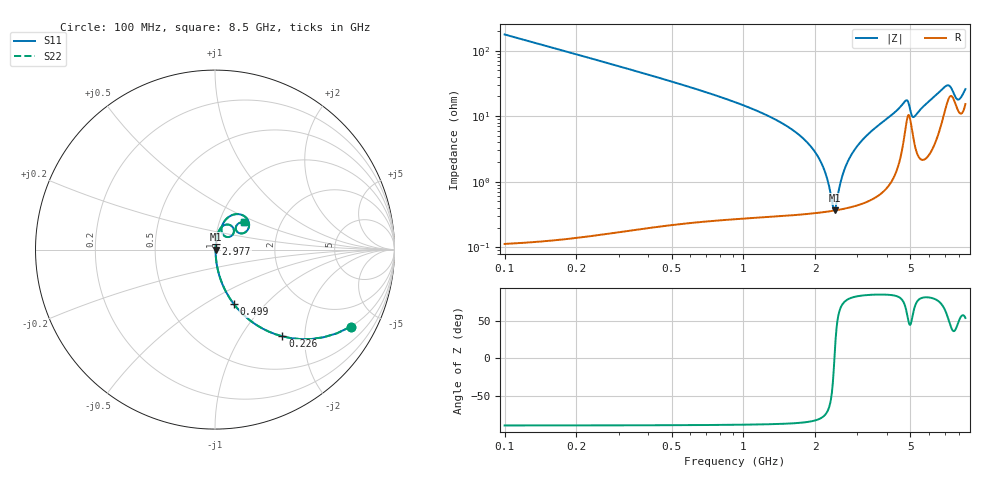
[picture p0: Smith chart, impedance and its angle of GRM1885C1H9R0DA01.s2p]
!Murata Part Number: GRM1885C1H9R0DA01
!These Parameters are Measured in Series Mode Connection
!Data Generated on Mar 30, 2021
!  o--ll--o
!Port1  Port2
!  o------o
!Operation Temp=25[degC], DC Bias Voltage=0[V]
!Freq. Start=100[MHz] Stop=9[GHz] 401[Steps]
# Hz S RI R 50
!Freq.(Hz) S11(Real) S11(Imag) S21(Real) S21(Imag) S12(Real) S12(Imag) S22(Real) S22(Imag)
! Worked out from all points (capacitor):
!   401 points, 100 MHz to 8.5 GHz, reference 50 ohm
!   read as one part in series: C = 9.01 pF near 142 MHz
!   lowest |Z| = 366 mohm at 2.41 GHz (marker M1)
!   series resonance near 2.405 GHz, so ESL is about 490 pH
!   S11 on the Smith chart (normalised r, x): 100 MHz: 1.00, -3.53; 226 MHz: 1.00, -1.55; 499 MHz: 1.00, -0.68; 2.977 GHz: 1.01, +0.07; 8.5 GHz: 1.31, +0.42
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1e8  0.7569 -0.4287  0.2431 0.4287  0.2431 0.4287  0.7569 -0.4287
2.26e8  0.3755 -0.4833  0.6245 0.4833  0.6245 0.4833  0.3755 -0.4833
3.31e8  0.216 -0.4098  0.784 0.4098  0.784 0.4098  0.216 -0.4098
4.99e8  0.1045 -0.3027  0.8955 0.3027  0.8955 0.3027  0.1045 -0.3027
8.98e8  0.0304 -0.1641  0.9696 0.1641  0.9696 0.1641  0.0304 -0.1641
1.507e9  0.00812 -0.0712  0.9919 0.0712  0.9919 0.0712  0.00812 -0.0712
1.843e9  0.00481 -0.0399  0.9952 0.0399  0.9952 0.0399  0.00481 -0.0399
2.074e9  0.00385 -0.0222  0.9961 0.0222  0.9961 0.0222  0.00385 -0.0222
2.221e9  0.00361 -0.0119  0.9964 0.0119  0.9964 0.0119  0.00361 -0.0119
2.368e9  0.0036 -0.00231  0.9964 0.00231  0.9964 0.00231  0.0036 -0.00231
2.41e9  0.00363 0.000345  0.9964 -0.000345  0.9964 -0.000345  0.00363 0.000345
2.641e9  0.00407 0.0143  0.9959 -0.0143  0.9959 -0.0143  0.00407 0.0143
2.914e9  0.00511 0.0299  0.9949 -0.0299  0.9949 -0.0299  0.00511 0.0299
2.977e9  0.00543 0.0333  0.9946 -0.0333  0.9946 -0.0333  0.00543 0.0333
3.46e9  0.00891 0.0594  0.9911 -0.0594  0.9911 -0.0594  0.00891 0.0594
4.3e9  0.0246 0.1095  0.9754 -0.1095  0.9754 -0.1095  0.0246 0.1095
4.804e9  0.0901 0.1331  0.9099 -0.1331  0.9099 -0.1331  0.0901 0.1331
5.14e9  0.0514 0.0766  0.9486 -0.0766  0.9486 -0.0766  0.0514 0.0766
5.707e9  0.04 0.134  0.96 -0.134  0.96 -0.134  0.04 0.134
7.114e9  0.1731 0.1783  0.8269 -0.1783  0.8269 -0.1783  0.1731 0.1783
7.891e9  0.1231 0.0999  0.8769 -0.0999  0.8769 -0.0999  0.1231 0.0999
8.5e9  0.1603 0.1523  0.8397 -0.1523  0.8397 -0.1523  0.1603 0.1523
